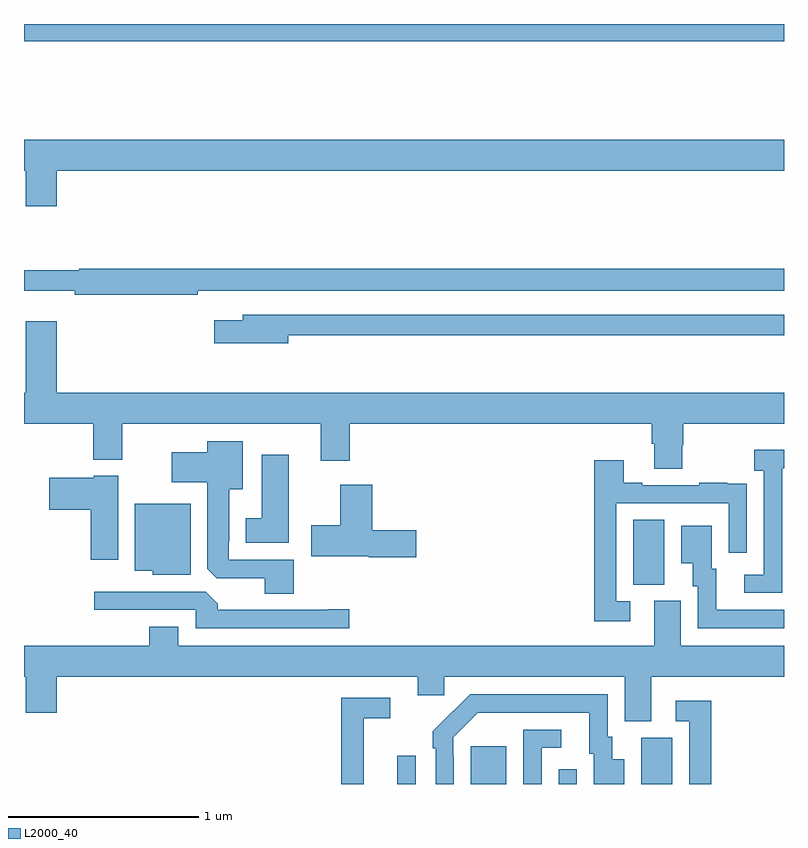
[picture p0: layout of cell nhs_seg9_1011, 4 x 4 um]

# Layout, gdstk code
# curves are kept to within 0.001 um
import gdstk
lib = gdstk.Library(unit=1e-6, precision=1e-09)
def R(c, l, rs):  # rectangles x0, y0, x1, y1
    for r in rs: c.add(gdstk.rectangle(r[:2], r[2:], *l))
def P(c, l, *ps):  # polygons
    for p in ps: c.add(gdstk.Polygon(p, *l))
L2000_40 = (2000, 40)

nhs_seg9_1011 = lib.new_cell('nhs_seg9_1011')
R(nhs_seg9_1011, L2000_40, [(166.965,1218.5,167.061,1218.649), (167.351,1218.5,167.539,1218.7), (167.814,1218.5,167.91,1218.577), (168.248,1218.5,168.412,1218.744), (168.206,1219.549,168.37,1219.892), (165,1222.408,169,1222.5)])
P(nhs_seg9_1011, L2000_40, [(165.172,1221.728),(169,1221.728),(169,1221.892),(165,1221.892),(165,1221.728),(165.008,1221.728),(165.008,1221.54),(165.172,1221.54)],
  [(165.914,1221.096),(169,1221.096),(169,1221.212),(165.29,1221.212),(165.29,1221.205),(165,1221.205),(165,1221.095),(165.268,1221.095),(165.268,1221.076),(165.914,1221.076)],
  [(166.39,1220.862),(169,1220.862),(169,1220.97),(166.151,1220.97),(166.151,1220.941),(166.002,1220.941),(166.002,1220.819),(166.39,1220.819)],
  [(168.465,1220.283),(168.47,1220.283),(168.47,1220.396),(169,1220.396),(169,1220.56),(165.172,1220.56),(165.172,1220.935),(165.008,1220.935),(165.008,1220.56),(165,1220.56),(165,1220.396),(165.365,1220.396),(165.365,1220.207),(165.517,1220.207),(165.517,1220.396),(166.562,1220.396),(166.562,1220.202),(166.715,1220.202),(166.715,1220.396),(168.305,1220.396),(168.305,1220.29),(168.317,1220.29),(168.317,1220.158),(168.465,1220.158)],
  [(166.421,1219.68),(166.077,1219.68),(166.077,1219.777),(166.081,1219.777),(166.081,1220.051),(166.15,1220.051),(166.15,1220.305),(165.965,1220.305),(165.965,1220.245),(165.777,1220.245),(165.777,1220.087),(165.965,1220.087),(165.965,1219.633),(166.014,1219.584),(166.268,1219.584),(166.268,1219.501),(166.421,1219.501)],
  [(168.99,1219.963),(168.991,1219.963),(168.991,1220.163),(169,1220.163),(169,1220.26),(168.843,1220.26),(168.843,1220.15),(168.894,1220.15),(168.894,1219.602),(168.792,1219.602),(168.792,1219.506),(168.99,1219.506)],
  [(166.393,1220.233),(166.25,1220.233),(166.25,1219.9),(166.166,1219.9),(166.166,1219.769),(166.393,1219.769)],
  [(168.19,1219.461),(168.117,1219.461),(168.117,1219.977),(168.708,1219.977),(168.708,1219.716),(168.804,1219.716),(168.804,1219.97),(168.803,1219.97),(168.803,1220.079),(168.701,1220.079),(168.701,1220.086),(168.553,1220.086),(168.553,1220.073),(168.253,1220.073),(168.253,1220.086),(168.157,1220.086),(168.157,1220.203),(168.001,1220.203),(168.001,1219.356),(168.19,1219.356)],
  [(165.496,1220.122),(165.366,1220.122),(165.366,1220.113),(165.132,1220.113),(165.132,1219.943),(165.35,1219.943),(165.35,1219.68),(165.496,1219.68)],
  [(167.065,1219.835),(166.832,1219.835),(166.832,1220.074),(166.664,1220.074),(166.664,1219.863),(166.512,1219.863),(166.512,1219.7),(166.815,1219.7),(166.815,1219.693),(167.065,1219.693)],
  [(165.877,1219.975),(165.584,1219.975),(165.584,1219.622),(165.678,1219.622),(165.678,1219.601),(165.877,1219.601)],
  [(169,1219.416),(168.643,1219.416),(168.643,1219.632),(168.619,1219.632),(168.619,1219.858),(168.458,1219.858),(168.458,1219.661),(168.521,1219.661),(168.521,1219.542),(168.546,1219.542),(168.546,1219.32),(169,1219.32)],
  [(166.711,1219.421),(166.598,1219.421),(166.598,1219.416),(166.019,1219.416),(166.019,1219.45),(165.957,1219.512),(165.369,1219.512),(165.369,1219.416),(165.903,1219.416),(165.903,1219.32),(166.711,1219.32)],
  [(168.301,1219.064),(169,1219.064),(169,1219.228),(168.457,1219.228),(168.457,1219.464),(168.317,1219.464),(168.317,1219.228),(165.811,1219.228),(165.811,1219.327),(165.659,1219.327),(165.659,1219.228),(165,1219.228),(165,1219.064),(165.008,1219.064),(165.008,1218.876),(165.172,1218.876),(165.172,1219.064),(167.072,1219.064),(167.072,1218.966),(167.211,1218.966),(167.211,1219.064),(168.161,1219.064),(168.161,1218.829),(168.301,1218.829)],
  [(167.262,1218.647),(167.259,1218.647),(167.259,1218.747),(167.388,1218.876),(167.975,1218.876),(167.975,1218.66),(167.999,1218.66),(167.999,1218.5),(168.16,1218.5),(168.16,1218.631),(168.097,1218.631),(168.097,1218.75),(168.072,1218.75),(168.072,1218.972),(167.348,1218.972),(167.151,1218.777),(167.151,1218.689),(167.166,1218.689),(167.166,1218.5),(167.262,1218.5)],
  [(166.787,1218.846),(166.927,1218.846),(166.927,1218.954),(166.669,1218.954),(166.669,1218.5),(166.787,1218.5)],
  [(168.617,1218.937),(168.429,1218.937),(168.429,1218.831),(168.501,1218.831),(168.501,1218.5),(168.617,1218.5)],
  [(167.724,1218.69),(167.827,1218.69),(167.827,1218.786),(167.628,1218.786),(167.628,1218.5),(167.724,1218.5)])

lib.write_gds('nhs_seg9_1011.gds')
